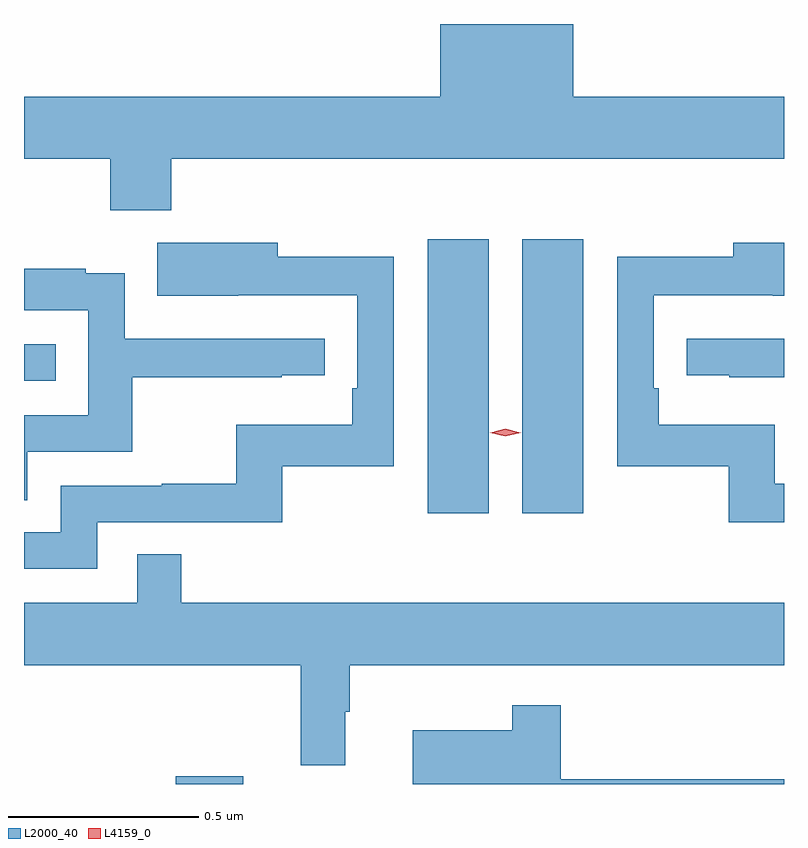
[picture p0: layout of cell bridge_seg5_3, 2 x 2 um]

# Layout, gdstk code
import gdstk
lib = gdstk.Library(unit=1e-6, precision=1e-09)
def R(c, l, rs):  # rectangles x0, y0, x1, y1
    for r in rs: c.add(gdstk.rectangle(r[:2], r[2:], *l))
def P(c, l, *ps):  # polygons
    for p in ps: c.add(gdstk.Polygon(p, *l))
L2000_40 = (2000, 40)
L4159_0 = (4159, 0)

bridge_seg5_3 = lib.new_cell('bridge_seg5_3')
R(bridge_seg5_3, L2000_40, [(990.062,871.099,990.24,871.12), (990.725,871.812,990.886,872.533), (990.974,871.812,991.135,872.533), (989.663,872.16,989.747,872.256)])
P(bridge_seg5_3, L2000_40, [(990.05,872.744),(991.663,872.744),(991.663,872.908),(991.108,872.908),(991.108,873.099),(990.758,873.099),(990.758,872.908),(989.663,872.908),(989.663,872.744),(989.89,872.744),(989.89,872.609),(990.05,872.609)],
  [(989.856,871.788),(990.343,871.788),(990.343,871.935),(990.636,871.935),(990.636,872.486),(990.331,872.486),(990.331,872.524),(990.013,872.524),(990.013,872.384),(990.227,872.384),(990.227,872.385),(990.54,872.385),(990.54,872.14),(990.527,872.14),(990.527,872.044),(990.222,872.044),(990.222,871.889),(990.025,871.889),(990.025,871.884),(989.76,871.884),(989.76,871.761),(989.663,871.761),(989.663,871.665),(989.856,871.665)],
  [(991.663,871.889),(991.639,871.889),(991.639,872.044),(991.334,872.044),(991.334,872.14),(991.32,872.14),(991.32,872.385),(991.633,872.385),(991.633,872.384),(991.663,872.384),(991.663,872.524),(991.529,872.524),(991.529,872.486),(991.224,872.486),(991.224,871.935),(991.518,871.935),(991.518,871.788),(991.663,871.788)],
  [(989.671,871.974),(989.948,871.974),(989.948,872.17),(990.341,872.17),(990.341,872.175),(990.454,872.175),(990.454,872.271),(989.928,872.271),(989.928,872.443),(989.825,872.443),(989.825,872.455),(989.663,872.455),(989.663,872.346),(989.832,872.346),(989.832,872.07),(989.663,872.07),(989.663,871.846),(989.671,871.846)],
  [(991.663,872.271),(991.407,872.271),(991.407,872.175),(991.519,872.175),(991.519,872.17),(991.663,872.17)],
  [(990.508,871.289),(990.52,871.289),(990.52,871.412),(991.663,871.412),(991.663,871.576),(990.077,871.576),(990.077,871.703),(989.961,871.703),(989.961,871.576),(989.663,871.576),(989.663,871.412),(990.391,871.412),(990.391,871.149),(990.508,871.149)],
  [(991.663,871.111),(991.076,871.111),(991.076,871.306),(990.948,871.306),(990.948,871.24),(990.686,871.24),(990.686,871.099),(991.663,871.099)])
P(bridge_seg5_3, L4159_0, [(990.93,872.014),(990.89,872.024),(990.89,872.024),(990.89,872.024),(990.93,872.034),(990.97,872.024),(990.97,872.024),(990.97,872.023)])

lib.write_gds('bridge_seg5_3.gds')
